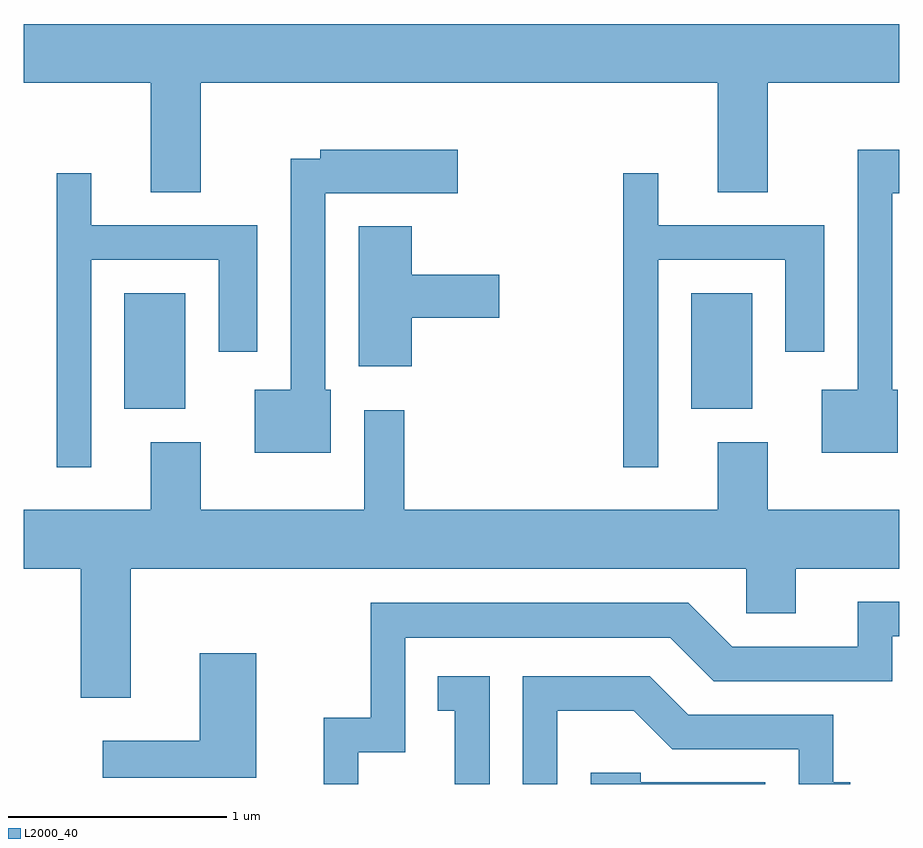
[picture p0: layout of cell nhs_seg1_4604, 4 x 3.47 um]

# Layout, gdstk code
import gdstk
lib = gdstk.Library(unit=1e-6, precision=1e-09)
def R(c, l, rs):  # rectangles x0, y0, x1, y1
    for r in rs: c.add(gdstk.rectangle(r[:2], r[2:], *l))
def P(c, l, *ps):  # polygons
    for p in ps: c.add(gdstk.Polygon(p, *l))
L2000_40 = (2000, 40)

nhs_seg1_4604 = lib.new_cell('nhs_seg1_4604')
R(nhs_seg1_4604, L2000_40, [(324.071,891.426,324.349,891.954), (326.661,891.426,326.939,891.954)])
P(nhs_seg1_4604, L2000_40, [(324.419,892.916),(326.781,892.916),(326.781,892.416),(327.009,892.416),(327.009,892.916),(327.611,892.916),(327.611,893.184),(323.611,893.184),(323.611,892.916),(324.191,892.916),(324.191,892.416),(324.419,892.416)],
  [(327.604,891.514),(327.579,891.514),(327.579,892.411),(327.611,892.411),(327.611,892.609),(327.421,892.609),(327.421,891.514),(327.256,891.514),(327.256,891.226),(327.604,891.226)],
  [(325.014,891.514),(324.989,891.514),(324.989,892.411),(325.594,892.411),(325.594,892.609),(324.966,892.609),(324.966,892.569),(324.831,892.569),(324.831,891.514),(324.666,891.514),(324.666,891.226),(325.014,891.226)],
  [(326.509,892.106),(327.091,892.106),(327.091,891.686),(327.269,891.686),(327.269,892.264),(326.509,892.264),(326.509,892.503),(326.351,892.503),(326.351,891.158),(326.509,891.158)],
  [(323.919,892.106),(324.501,892.106),(324.501,891.686),(324.679,891.686),(324.679,892.264),(323.919,892.264),(323.919,892.503),(323.761,892.503),(323.761,891.158),(323.919,891.158)],
  [(325.384,891.841),(325.784,891.841),(325.784,892.039),(325.384,892.039),(325.384,892.259),(325.141,892.259),(325.141,891.621),(325.384,891.621)],
  [(324.099,890.696),(326.911,890.696),(326.911,890.491),(327.139,890.491),(327.139,890.696),(327.611,890.696),(327.611,890.964),(327.009,890.964),(327.009,891.274),(326.781,891.274),(326.781,890.964),(325.349,890.964),(325.349,891.419),(325.166,891.419),(325.166,890.964),(324.419,890.964),(324.419,891.274),(324.191,891.274),(324.191,890.964),(323.611,890.964),(323.611,890.696),(323.871,890.696),(323.871,890.106),(324.099,890.106)],
  [(325.139,889.856),(325.354,889.856),(325.354,890.381),(326.564,890.381),(326.764,890.181),(327.579,890.181),(327.579,890.386),(327.611,890.386),(327.611,890.544),(327.421,890.544),(327.421,890.339),(326.847,890.339),(326.647,890.539),(325.196,890.539),(325.196,890.014),(324.981,890.014),(324.981,889.712),(325.139,889.712)],
  [(324.674,890.309),(324.416,890.309),(324.416,889.909),(323.973,889.909),(323.973,889.741),(324.674,889.741)],
  [(325.739,890.204),(325.503,890.204),(325.503,890.046),(325.581,890.046),(325.581,889.712),(325.739,889.712)],
  [(326.049,890.046),(326.399,890.046),(326.574,889.871),(327.151,889.871),(327.151,889.712),(327.388,889.712),(327.388,889.719),(327.309,889.719),(327.309,890.029),(326.647,890.029),(326.472,890.204),(325.891,890.204),(325.891,889.712),(326.049,889.712)],
  [(326.999,889.719),(326.429,889.719),(326.429,889.764),(326.201,889.764),(326.201,889.712),(326.999,889.712)])

lib.write_gds('nhs_seg1_4604.gds')
